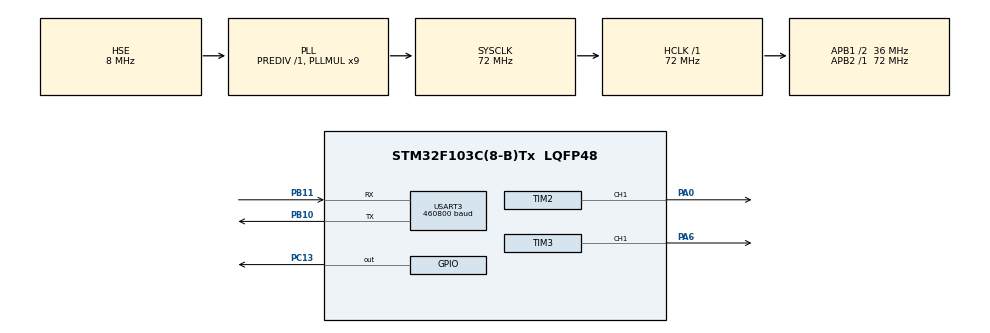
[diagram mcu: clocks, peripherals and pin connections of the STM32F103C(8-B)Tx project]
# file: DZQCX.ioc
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Mcu.Family=STM32F1
Mcu.Name=STM32F103C(8-B)Tx
Mcu.Package=LQFP48
NVIC.PriorityGroup=NVIC_PRIORITYGROUP_4
NVIC.USART3_IRQn=true\:1\:0\:true\:false\:true\:true\:true
PA0-WKUP.Signal=S_TIM2_CH1_ETR
PA6.Signal=S_TIM3_CH1
PB10.Mode=Asynchronous
PB10.Signal=USART3_TX
PB11.Mode=Asynchronous
PB11.Signal=USART3_RX
PC13-TAMPER-RTC.Signal=GPIO_Output
PD0-OSC_IN.Mode=HSE-External-Oscillator
PD0-OSC_IN.Signal=RCC_OSC_IN
PD1-OSC_OUT.Mode=HSE-External-Oscillator
PD1-OSC_OUT.Signal=RCC_OSC_OUT
ProjectManager.HeapSize=0x1000
ProjectManager.StackSize=0x1000
ProjectManager.TargetToolchain=MDK-ARM V5
RCC.AHBFreq_Value=72000000
RCC.APB1CLKDivider=RCC_HCLK_DIV2
RCC.APB1Freq_Value=36000000
RCC.APB1TimFreq_Value=72000000
RCC.APB2Freq_Value=72000000
RCC.APB2TimFreq_Value=72000000
RCC.HCLKFreq_Value=72000000
RCC.PLLMUL=RCC_PLL_MUL9
RCC.PLLSourceVirtual=RCC_PLLSOURCE_HSE
RCC.SYSCLKFreq_VALUE=72000000
RCC.SYSCLKSource=RCC_SYSCLKSOURCE_PLLCLK
RCC.USBFreq_Value=72000000
SH.S_TIM2_CH1_ETR.0=TIM2_CH1,PWM Generation1 CH1
SH.S_TIM3_CH1.0=TIM3_CH1,PWM Generation1 CH1
TIM2.AutoReloadPreload=TIM_AUTORELOAD_PRELOAD_ENABLE
TIM2.Channel-PWM\ Generation1\ CH1=TIM_CHANNEL_1
TIM2.OCFastMode_PWM-PWM\ Generation1\ CH1=TIM_OCFAST_ENABLE
TIM2.Period=4000-1
TIM2.Prescaler=9-1
TIM2.Pulse-PWM\ Generation1\ CH1=2000
TIM3.AutoReloadPreload=TIM_AUTORELOAD_PRELOAD_ENABLE
TIM3.Channel-PWM\ Generation1\ CH1=TIM_CHANNEL_1
TIM3.OCFastMode_PWM-PWM\ Generation1\ CH1=TIM_OCFAST_ENABLE
TIM3.Period=4000-1
TIM3.Prescaler=9-1
TIM3.Pulse-PWM\ Generation1\ CH1=2000
TIM4.AutoReloadPreload=TIM_AUTORELOAD_PRELOAD_ENABLE
TIM4.Period=20000-1
TIM4.Prescaler=720-1
USART3.BaudRate=460800
USART3.VirtualMode=VM_ASYNC
VP_SYS_VS_ND.Mode=No_Debug
VP_TIM4_VS_ClockSourceINT.Mode=Internal
board=custom

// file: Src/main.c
/* USER CODE BEGIN Header */
/**
  ******************************************************************************
  * @file           : main.c
  * @brief          : Main program body
  ******************************************************************************
  * @attention
  *
  * <h2><center>&copy; Copyright (c) 2019 STMicroelectronics.
  * All rights reserved.</center></h2>
  *
  * This software component is licensed by ST under BSD 3-Clause license,
  * the "License"; You may not use this file except in compliance with the
  * License. You may obtain a copy of the License at:
  *                        opensource.org/licenses/BSD-3-Clause
  *
  ******************************************************************************
  */
/* USER CODE END Header */

#include "main.h"
#include "tim.h"
#include "usart.h"
#include "gpio.h"

/* USER CODE BEGIN Includes */
#include "music.h"
#include "string.h"
/* USER CODE END Includes */

void SystemClock_Config(void);
/* USER CODE BEGIN PFP */
void USER_Judge(char ch);
/* USER CODE END PFP */

/* USER CODE BEGIN 0 */
uint8_t SWT='0';
uint8_t SWG='0';
char i=0;
/* USER CODE END 0 */

int main(void)
{

  /* MCU Configuration--------------------------------------------------------*/

  /* Reset of all peripherals, Initializes the Flash interface and the Systick. */
  HAL_Init();

  /* Configure the system clock */
  SystemClock_Config();

  /* Initialize all configured peripherals */
  MX_GPIO_Init();
  MX_TIM2_Init();
  MX_TIM3_Init();
  MX_USART3_UART_Init();
  MX_TIM4_Init();
  /* USER CODE BEGIN 2 */
  HAL_Delay(1000);
  char c='q';
  /* USER CODE END 2 */

  /* Infinite loop */
  /* USER CODE BEGIN WHILE */
  while (1)
  {
	  HAL_UART_Receive(&huart3,&SWT,sizeof(SWT),10);
		HAL_Delay(10);
	  if(SWT!=c)
	  {
	    USER_Judge(SWT);
			c=SWT;
 			if(SWT=='0')c='q';
	  }

		while(SWT=='K')
		{
			HAL_UART_Receive_IT(&huart3,&SWG,sizeof(SWG));
			if(i==0)
			{
				HAL_Delay(10);
			}
			if(i==1)
			{
				sta=1;
			  HAL_Delay(100);
			  BEEP1_PLAY(Song_Bie,620);
			}
			if(i==2)
			{
				sta=1;
				HAL_Delay(100);
			  BEEP1_PLAY(Hua_Huo,600);
			}
			if(i==3)
			{
				sta=1;
				HAL_Delay(100);
			  BEEP1_PLAY(Qian_QQ_Shi,320);
			}
			if(i==4)
			{
				sta=1;
				HAL_Delay(100);
			  BEEP1_PLAY(molihua,800);
			}
			if(i==5)
			{
				sta=1;
				HAL_Delay(100);
			  BEEP1_PLAY(muyangqu,800);
			}
			if(i==6)
			{
				sta=1;
				HAL_Delay(100);
			  BEEP1_PLAY(Shen_Hua,600);
			}
		}
    /* USER CODE END WHILE */

  }
}

void SystemClock_Config(void)
{
  RCC_OscInitTypeDef RCC_OscInitStruct = {0};
  RCC_ClkInitTypeDef RCC_ClkInitStruct = {0};

  /** Initializes the CPU, AHB and APB busses clocks
  */
  RCC_OscInitStruct.OscillatorType = RCC_OSCILLATORTYPE_HSE;
  RCC_OscInitStruct.HSEState = RCC_HSE_ON;
  RCC_OscInitStruct.HSEPredivValue = RCC_HSE_PREDIV_DIV1;
  RCC_OscInitStruct.HSIState = RCC_HSI_ON;
  RCC_OscInitStruct.PLL.PLLState = RCC_PLL_ON;
  RCC_OscInitStruct.PLL.PLLSource = RCC_PLLSOURCE_HSE;
  RCC_OscInitStruct.PLL.PLLMUL = RCC_PLL_MUL9;
  if (HAL_RCC_OscConfig(&RCC_OscInitStruct) != HAL_OK)
  {
    Error_Handler();
  }
  /** Initializes the CPU, AHB and APB busses clocks
  */
  RCC_ClkInitStruct.ClockType = RCC_CLOCKTYPE_HCLK|RCC_CLOCKTYPE_SYSCLK
                              |RCC_CLOCKTYPE_PCLK1|RCC_CLOCKTYPE_PCLK2;
  RCC_ClkInitStruct.SYSCLKSource = RCC_SYSCLKSOURCE_PLLCLK;
  RCC_ClkInitStruct.AHBCLKDivider = RCC_SYSCLK_DIV1;
  RCC_ClkInitStruct.APB1CLKDivider = RCC_HCLK_DIV2;
  RCC_ClkInitStruct.APB2CLKDivider = RCC_HCLK_DIV1;

  if (HAL_RCC_ClockConfig(&RCC_ClkInitStruct, FLASH_LATENCY_2) != HAL_OK)
  {
    Error_Handler();
  }
}

/* USER CODE BEGIN 4 */
int fputc( int dat, FILE *file )
{
    uint8_t ch = dat;
    HAL_UART_Transmit(&huart3,&ch,1,100 );
	return 0;
}

void USER_Judge(char ch)
{
	switch(ch)
	{
		case 'a':
			USER_BEEP1(L1);
		  break;
		case 'b':
			USER_BEEP1(L2);
		  break;
		case 'c':
			USER_BEEP1(L3);
		  break;
		case 'd':
			USER_BEEP1(L4);
		  break;
		case 'e':
			USER_BEEP1(L5);
		  break;
		case 'f':
			USER_BEEP1(L6);
		  break;
		case 'g':
			USER_BEEP1(L7);
		  break;
		case '1':
			USER_BEEP1(M1);
		  break;
		case '2':
			USER_BEEP1(M2);
		  break;
		case '3':
			USER_BEEP1(M3);
		  break;
		case '4':
			USER_BEEP1(M4);
		  break;
		case '5':
			USER_BEEP1(M5);
		  break;
		case '6':
			USER_BEEP1(M6);
		  break;
		case '7':
			USER_BEEP1(M7);
		  break;
		case 'A':
			USER_BEEP1(H1);
		  break;
		case 'B':
			USER_BEEP1(H2);
		  break;
		case 'C':
			USER_BEEP1(H3);
		  break;
		case 'D':
			USER_BEEP1(H4);
		  break;
		case 'E':
			USER_BEEP1(H5);
		  break;
		case 'F':
			USER_BEEP1(H6);
		  break;
		case 'G':
			USER_BEEP1(H7);
		  break;
		case '0':
			USER_BEEP1(0);
		  break;
		default:
			break;
	}
}
void HAL_UART_RxCpltCallback(UART_HandleTypeDef *huart)
{
	if(huart->Instance==huart3.Instance)
	{
		while(SWG=='Z')
		{
			sta=1;
			USER_BEEP1(0);
			HAL_UART_Receive(&huart3,&SWG,sizeof(SWG),50);
		}
		if(SWG=='L')
		{
			sta=0;
			SWT='0';
			i=0;
		}
		if(SWG=='K')
		{
			if(i==0)i=1;
			sta=1;
			USER_BEEP1(0);
			HAL_UART_Receive_IT(&huart3,&SWG,sizeof(SWG));
		}
		if(SWG=='Q')
		{
			sta=0;
		  i=(i+Music_Num)%Music_Num+1;
			HAL_UART_Receive_IT(&huart3,&SWG,sizeof(SWG));
		}
		if(SWG=='H')
		{
			sta=0;
			i=(i-1+Music_Num)%Music_Num;
			if(i==0)i=Music_Num;
			HAL_UART_Receive_IT(&huart3,&SWG,sizeof(SWG));
		}
  }
}
/* USER CODE END 4 */

void Error_Handler(void)
{
}

/************************ (C) COPYRIGHT STMicroelectronics *****END OF FILE****/
